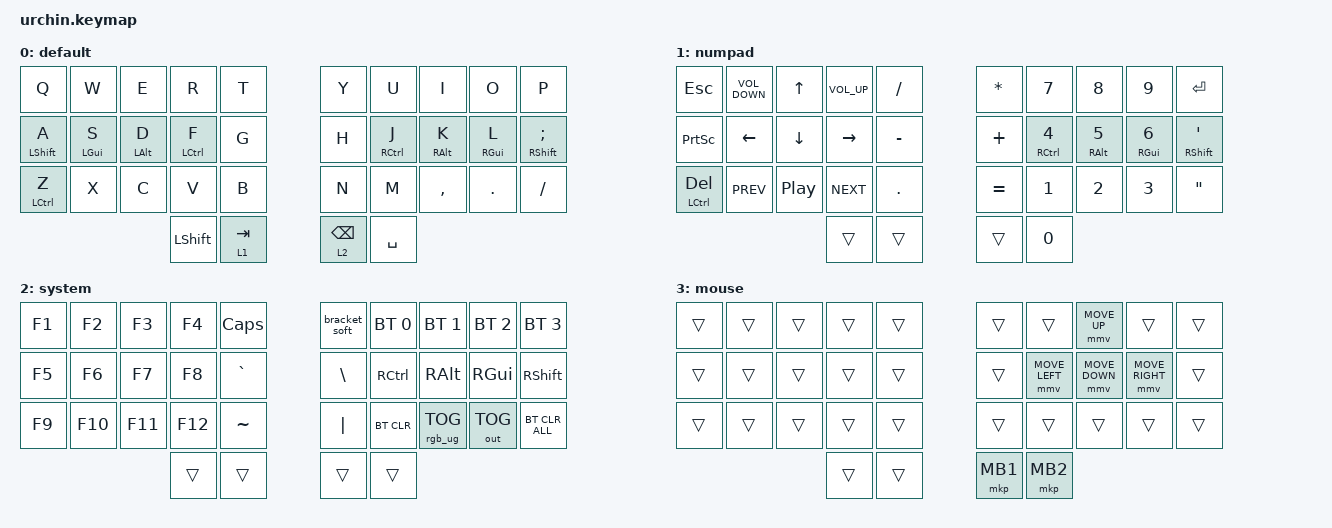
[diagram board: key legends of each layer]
#include <input/processors.dtsi>
#include <behaviors.dtsi>
#include <dt-bindings/zmk/bt.h>
#include <dt-bindings/zmk/keys.h>
#include <dt-bindings/zmk/outputs.h>
#include <dt-bindings/zmk/pointing.h>
#include <dt-bindings/zmk/rgb.h>

/ {
    combos {
        compatible = "zmk,combos";

        minus {
            bindings = <&kp MINUS>;
            key-positions = <6 7>;
            layers = <0>;
            require-prior-idle-ms = <50>;
            timeout-ms = <18>;
        };

        equal {
            bindings = <&kp EQUAL>;
            key-positions = <7 8>;
            layers = <0>;
            require-prior-idle-ms = <50>;
            timeout-ms = <18>;
        };

        exlam {
            bindings = <&kp EXCLAMATION>;
            key-positions = <0 10>;
            timeout-ms = <25>;
            require-prior-idle-ms = <100>;
            layers = <0>;
        };

        at {
            bindings = <&kp AT_SIGN>;
            key-positions = <1 11>;
            timeout-ms = <25>;
            require-prior-idle-ms = <100>;
            layers = <0>;
        };

        hash {
            bindings = <&kp HASH>;
            key-positions = <2 12>;
            timeout-ms = <25>;
            require-prior-idle-ms = <100>;
            layers = <0>;
        };

        dollar {
            bindings = <&kp DOLLAR>;
            key-positions = <3 13>;
            timeout-ms = <25>;
            require-prior-idle-ms = <100>;
            layers = <0>;
        };

        percent {
            bindings = <&kp PERCENT>;
            key-positions = <6 16>;
            timeout-ms = <25>;
            require-prior-idle-ms = <100>;
            layers = <0>;
        };

        caret {
            bindings = <&kp CARET>;
            key-positions = <7 17>;
            timeout-ms = <25>;
            require-prior-idle-ms = <100>;
            layers = <0>;
        };

        ampersand {
            bindings = <&kp AMPERSAND>;
            key-positions = <18 8>;
            timeout-ms = <25>;
            require-prior-idle-ms = <100>;
            layers = <0>;
        };

        asterix {
            bindings = <&kp ASTERISK>;
            key-positions = <9 19>;
            timeout-ms = <25>;
            require-prior-idle-ms = <100>;
            layers = <0>;
        };

        parentheses_1 {
            bindings = <&kp LEFT_PARENTHESIS>;
            key-positions = <1 2>;
            layers = <0>;
            require-prior-idle-ms = <50>;
            timeout-ms = <18>;
        };

        parentheses_2 {
            bindings = <&kp RIGHT_PARENTHESIS>;
            key-positions = <2 3>;
            layers = <0>;
            require-prior-idle-ms = <50>;
            timeout-ms = <18>;
        };

        bracket_1 {
            bindings = <&kp LEFT_BRACKET>;
            key-positions = <6 16>;
            layers = <1>;
            timeout-ms = <25>;
            require-prior-idle-ms = <100>;
        };

        bracket_2 {
            bindings = <&kp RIGHT_BRACKET>;
            key-positions = <7 17>;
            layers = <1>;
            timeout-ms = <25>;
            require-prior-idle-ms = <100>;
        };

        brace_1 {
            bindings = <&kp LEFT_BRACE>;
            key-positions = <16 26>;
            layers = <1>;
            timeout-ms = <25>;
            require-prior-idle-ms = <100>;
        };

        brace_2 {
            bindings = <&kp RIGHT_BRACE>;
            key-positions = <17 27>;
            layers = <1>;
            timeout-ms = <25>;
            require-prior-idle-ms = <100>;
        };

        undo {
            bindings = <&kp LC(Z)>;
            key-positions = <20 21>;
            layers = <0>;
            require-prior-idle-ms = <50>;
            timeout-ms = <30>;
        };

        cut {
            bindings = <&kp LC(X)>;
            key-positions = <20 22>;
            require-prior-idle-ms = <50>;
            layers = <0>;
            timeout-ms = <30>;
        };

        copy {
            bindings = <&kp LC(C)>;
            key-positions = <21 22>;
            layers = <0>;
            require-prior-idle-ms = <50>;
            timeout-ms = <30>;
        };

        paste {
            bindings = <&kp LC(V)>;
            key-positions = <22 23>;
            layers = <0>;
            require-prior-idle-ms = <50>;
            timeout-ms = <30>;
        };

        delete {
            bindings = <&kp DELETE>;
            key-positions = <28 27>;
            require-prior-idle-ms = <50>;
            layers = <0>;
            timeout-ms = <18>;
        };

        enter {
            bindings = <&kp ENTER>;
            key-positions = <26 27>;
            timeout-ms = <18>;
            require-prior-idle-ms = <50>;
            layers = <0 1>;
        };

        page_up {
            bindings = <&kp PAGE_UP>;
            key-positions = <12 2>;
            layers = <1>;
            timeout-ms = <25>;
            require-prior-idle-ms = <100>;
        };

        page_down {
            bindings = <&kp PAGE_DOWN>;
            key-positions = <12 22>;
            layers = <1>;
            timeout-ms = <25>;
            require-prior-idle-ms = <100>;
        };

        mute {
            bindings = <&kp C_MUTE>;
            key-positions = <1 3>;
            timeout-ms = <18>;
            require-prior-idle-ms = <50>;
            layers = <1>;
        };

        middle_click {
            bindings = <&mkp MB3>;
            key-positions = <33 32>;
            layers = <3>;
        };

        mouse_layer {
            bindings = <&tog 3>;
            key-positions = <10 2 31>;
            layers = <0 3>;
        };

        /*
        to_numpad {
            bindings = <&to 1>;
            key-positions = <10 20>;
            timeout-ms = <30>;
            require-prior-idle-ms = <50>;
            layers = <0>;
        };

        from_numpad {
            bindings = <&to 0>;
            key-positions = <10 20>;
            timeout-ms = <30>;
            require-prior-idle-ms = <50>;
            layers = <1>;
        };

        to_system {
            bindings = <&to 2>;
            key-positions = <19 29>;
            timeout-ms = <30>;
            require-prior-idle-ms = <50>;
            layers = <0>;
        };

        from_system {
            bindings = <&to 0>;
            key-positions = <29 19>;
            timeout-ms = <30>;
            require-prior-idle-ms = <50>;
            layers = <2>;
        };

        to_numpad_R {
            bindings = <&to 1>;
            key-positions = <9 19>;
            timeout-ms = <30>;
            require-prior-idle-ms = <50>;
            layers = <0>;
        };

        from_numpad_R {
            bindings = <&to 0>;
            key-positions = <9 19>;
            timeout-ms = <30>;
            require-prior-idle-ms = <50>;
            layers = <1>;
        };

        to_system_L {
            bindings = <&to 2>;
            key-positions = <0 10>;
            timeout-ms = <30>;
            require-prior-idle-ms = <50>;
            layers = <0>;
        };

        from_system_L {
            bindings = <&to 0>;
            key-positions = <0 10>;
            timeout-ms = <30>;
            require-prior-idle-ms = <50>;
            layers = <2>;
        };

        layer_3 {
            bindings = <&mo 0>;
            key-positions = <30 31>;
            layers = <0>;
            require-prior-idle-ms = <250>;
        };
*/
    };

    macros {
        bracket_soft: bracket_soft {
            compatible = "zmk,behavior-macro";
            #binding-cells = <0>;
            bindings = <&kp LEFT_PARENTHESIS &kp RIGHT_PARENTHESIS &kp LEFT>;
            label = "BRACKET_SOFT";
        };
    };

    behaviors {
        hrm_L: hrm_L {
            compatible = "zmk,behavior-hold-tap";
            label = "HRM_L";
            bindings = <&kp>, <&kp>;

            #binding-cells = <2>;
            tapping-term-ms = <200>;
            quick-tap-ms = <175>;
            require-prior-idle-ms = <200>;
            flavor = "balanced";
            hold-trigger-on-release;
            hold-trigger-key-positions = <5 6 7 8 9 15 16 17 18 19 25 26 27 28 29 32 33 30 31>;
        };

        hrm_R: hrm_R {
            compatible = "zmk,behavior-hold-tap";
            label = "HRM_R";
            bindings = <&kp>, <&kp>;

            #binding-cells = <2>;
            tapping-term-ms = <200>;
            quick-tap-ms = <175>;
            require-prior-idle-ms = <200>;
            flavor = "balanced";
            hold-trigger-on-release;
            hold-trigger-key-positions = <0 1 2 3 4 10 11 12 13 14 20 21 22 23 24 30 31 32 33>;
        };

        hrm_ctrl_L: hrm_ctrl_L {
            compatible = "zmk,behavior-hold-tap";
            label = "HRM_CTRL_L";
            bindings = <&kp>, <&kp>;

            #binding-cells = <2>;
            tapping-term-ms = <200>;
            quick-tap-ms = <175>;
            require-prior-idle-ms = <150>;
            flavor = "balanced";
            hold-trigger-on-release;
            hold-trigger-key-positions = <5 6 7 8 9 15 16 17 18 19 25 26 27 28 29 33 32 31 30>;
        };

        hrm_ctrl_R: hrm_ctrl_R {
            compatible = "zmk,behavior-hold-tap";
            label = "HRM_CTRL_R";
            bindings = <&kp>, <&kp>;

            #binding-cells = <2>;
            tapping-term-ms = <200>;
            quick-tap-ms = <175>;
            require-prior-idle-ms = <150>;
            flavor = "balanced";
            hold-trigger-on-release;
            hold-trigger-key-positions = <0 1 2 3 4 10 11 12 13 14 20 21 22 23 24 30 31 32 33>;
        };

        z_ctrl: z_ctrl {
            compatible = "zmk,behavior-hold-tap";
            label = "Z_CTRL";
            bindings = <&kp>, <&kp>;

            #binding-cells = <2>;
            tapping-term-ms = <200>;
            quick-tap-ms = <175>;
            require-prior-idle-ms = <150>;
            flavor = "balanced";
            hold-trigger-on-release;
            hold-trigger-key-positions = <2 3 4 11 12 13 14 21 22 23 24 1>;
        };

        tab_layer1: tab_layer1 {
            compatible = "zmk,behavior-hold-tap";
            label = "TAB_LAYER1";
            bindings = <&mo>, <&kp>;

            #binding-cells = <2>;
            tapping-term-ms = <150>;
            quick-tap-ms = <150>;
            hold-trigger-key-positions = <0 10 20 11 12 13 2 33 6 7 8 16 17 18 26 27 28>;
            hold-trigger-on-release;
        };

        bckspce_layer2: bckspce_layer2 {
            compatible = "zmk,behavior-hold-tap";
            label = "BCKSPCE_LAYER2";
            bindings = <&mo>, <&kp>;

            #binding-cells = <2>;
            tapping-term-ms = <150>;
            quick-tap-ms = <150>;
            flavor = "tap-preferred";
            hold-trigger-key-positions = <0 1 10 11 12 13 20 21 22 23 2 16 17 18 19>;
            hold-trigger-on-release;
        };

        hrm_Lshift: hrm_Lshift {
            compatible = "zmk,behavior-hold-tap";
            label = "HRM_LSHIFT";
            bindings = <&kp>, <&kp>;

            #binding-cells = <2>;
            tapping-term-ms = <200>;
            quick-tap-ms = <175>;
            require-prior-idle-ms = <200>;
            flavor = "balanced";
            hold-trigger-on-release;
            hold-trigger-key-positions = <5 6 7 8 9 15 16 17 18 19 25 26 27 28 29 32 33 30 31>;
        };

        hrm_Rshift: hrm_Rshift {
            compatible = "zmk,behavior-hold-tap";
            label = "HRM_RSHIFT";
            bindings = <&kp>, <&kp>;

            #binding-cells = <2>;
            tapping-term-ms = <200>;
            quick-tap-ms = <175>;
            require-prior-idle-ms = <200>;
            flavor = "balanced";
            hold-trigger-on-release;
            hold-trigger-key-positions = <0 1 2 3 4 10 11 12 13 14 20 21 22 23 24 30 31 32 33>;
        };
    };

    keymap {
        compatible = "zmk,keymap";

        default {
            label = "default";
            bindings = <
&kp Q                     &kp W              &kp E              &kp R                       &kp T              &kp Y                        &kp U                        &kp I               &kp O               &kp P
&hrm_Lshift LEFT_SHIFT A  &hrm_L LEFT_GUI S  &hrm_L LEFT_ALT D  &hrm_ctrl_L LEFT_CONTROL F  &kp G              &kp H                        &hrm_ctrl_R RIGHT_CONTROL J  &hrm_R RIGHT_ALT K  &hrm_R RIGHT_GUI L  &hrm_Rshift RIGHT_SHIFT SEMICOLON
&z_ctrl LEFT_CONTROL Z    &kp X              &kp C              &kp V                       &kp B              &kp N                        &kp M                        &kp COMMA           &kp DOT             &kp SLASH
                                                                &kp LEFT_SHIFT              &tab_layer1 1 TAB  &bckspce_layer2 2 BACKSPACE  &kp SPACE
            >;
        };

        arrow_numpad {
            bindings = <
&kp ESC                      &kp C_VOLUME_DOWN  &kp UP    &kp C_VOL_UP  &kp SLASH   &kp ASTERISK  &kp N7                        &kp N8               &kp N9               &kp ENTER
&kp PRINTSCREEN              &kp LEFT           &kp DOWN  &kp RIGHT     &kp MINUS   &kp PLUS      &hrm_ctrl_R RIGHT_CONTROL N4  &hrm_R RIGHT_ALT N5  &hrm_R RIGHT_GUI N6  &hrm_Rshift RIGHT_SHIFT SQT
&z_ctrl LEFT_CONTROL DELETE  &kp C_PREV         &kp C_PP  &kp C_NEXT    &kp PERIOD  &kp EQUAL     &kp N1                        &kp N2               &kp N3               &kp DOUBLE_QUOTES
                                                          &trans        &trans      &trans        &kp N0
            >;

            label = "numpad";
        };

        function_system {
            bindings = <
&kp F1  &kp F2   &kp F3   &kp F4   &kp CLCK   &bracket_soft  &bt BT_SEL 0  &bt BT_SEL 1     &bt BT_SEL 2  &bt BT_SEL 3
&kp F5  &kp F6   &kp F7   &kp F8   &kp GRAVE  &kp BSLH       &kp RCTRL     &kp RALT         &kp RGUI      &kp RSHFT
&kp F9  &kp F10  &kp F11  &kp F12  &kp TILDE  &kp PIPE       &bt BT_CLR    &rgb_ug RGB_TOG  &out OUT_TOG  &bt BT_CLR_ALL
                          &trans   &trans     &trans         &trans
            >;

            label = "system";
        };

        mouse {
            bindings = <
&trans  &trans  &trans  &trans  &trans  &trans    &trans          &mmv MOVE_UP    &trans           &trans
&trans  &trans  &trans  &trans  &trans  &trans    &mmv MOVE_LEFT  &mmv MOVE_DOWN  &mmv MOVE_RIGHT  &trans
&trans  &trans  &trans  &trans  &trans  &trans    &trans          &trans          &trans           &trans
                        &trans  &trans  &mkp MB1  &mkp MB2
            >;

            label = "mouse";
        };
    };
};
